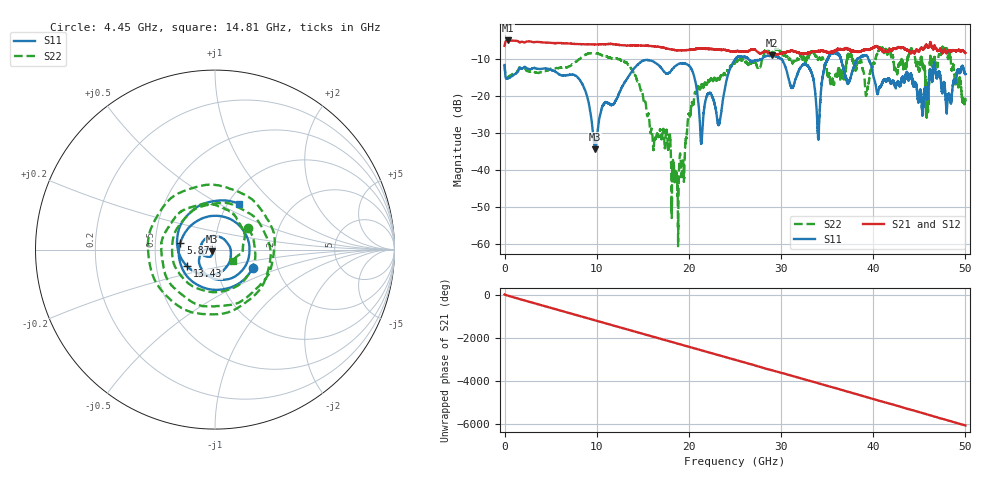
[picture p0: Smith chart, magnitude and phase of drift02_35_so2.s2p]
!Created with skrf (http://scikit-rf.org).
# Hz S RI R 50.0
!freq ReS11 ImS11 ReS21 ImS21 ReS12 ImS12 ReS22 ImS22
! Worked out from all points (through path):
!   10001 points, 300 kHz to 50 GHz, reference 50 ohm
!   highest |S21| = -5.04 dB at 325.3 MHz (marker M1); lowest = -9.0 dB at 29.01 GHz (marker M2)
!   group delay of S21, straight-line fit = 336 ps
!   lowest |S11| = -34.4 dB at 9.83 GHz (marker M3), VSWR 1.04, Z = 48.4 - j0.973 ohm
!   |S11| at or under -10 dB: start of sweep to 25.07 GHz; 29.98 GHz to 35.06 GHz (5.077 GHz wide, 15.6 % of centre); 39.47 GHz to end of sweep (the widest 3 of 12)
!   |S22| runs from -60.7 to -6.7 dB; largest |S21 - S12| = 0.021
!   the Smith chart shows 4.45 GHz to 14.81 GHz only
!   S11 on the Smith chart (normalised r, x): 4.45 GHz: 1.49, -0.33; 5.87 GHz: 0.68, +0.06; 13.43 GHz: 0.72, -0.14; 14.81 GHz: 1.12, +0.62
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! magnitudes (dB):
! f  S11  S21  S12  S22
! 300 kHz  -11.7  -6.5  -6.4  -11.6
! 325.3 MHz  -15.4  -5.0  -5.0  -15.0
! 4.45 GHz  -12.6  -5.6  -5.6  -13.3
! 5.87 GHz  -14.1  -5.7  -5.7  -12.5
! 8.335 GHz  -16.4  -6.0  -6.0  -9.6
! 9.83 GHz  -34.4  -6.1  -6.1  -8.5
! 13.43 GHz  -14.8  -6.4  -6.4  -11.6
! 14.81 GHz  -10.8  -6.4  -6.4  -18.5
! 16.67 GHz  -11.6  -6.7  -6.7  -30.8
! 18.67 GHz  -11.7  -7.7  -7.7  -42.5
! 20.37 GHz  -13.3  -7.5  -7.5  -21.8
! 21.37 GHz  -31.9  -7.2  -7.2  -16.9
! 23.31 GHz  -27.4  -7.5  -7.6  -15.6
! 25 GHz  -10.3  -8.0  -8.0  -11.2
! 29.01 GHz  -9.1  -9.0  -9.0  -8.2
! 33.34 GHz  -14.0  -8.1  -8.2  -8.1
! 34.02 GHz  -31.4  -7.9  -7.9  -10.2
! 35.54 GHz  -8.4  -8.1  -8.2  -15.3
! 41.67 GHz  -15.4  -7.7  -7.8  -7.5
! 45.85 GHz  -20.5  -6.7  -6.8  -21.1
! 47.77 GHz  -17.9  -7.6  -7.6  -7.3
! 50 GHz  -14.1  -8.4  -8.4  -20.6
